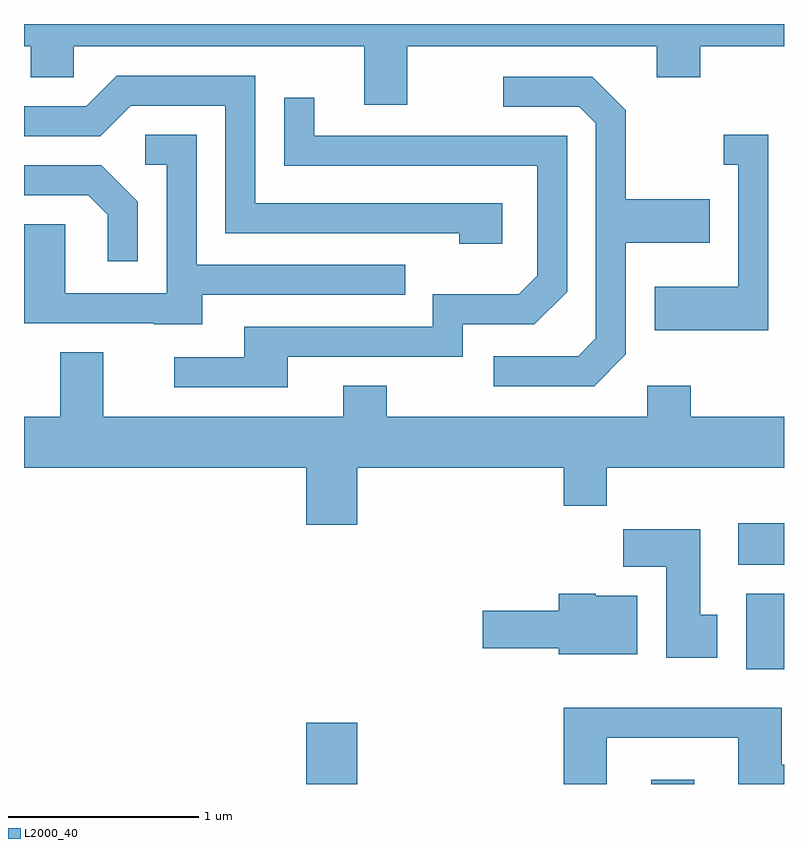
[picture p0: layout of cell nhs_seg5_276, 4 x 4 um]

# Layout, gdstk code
import gdstk
lib = gdstk.Library(unit=1e-6, precision=1e-09)
def R(c, l, rs):  # rectangles x0, y0, x1, y1
    for r in rs: c.add(gdstk.rectangle(r[:2], r[2:], *l))
def P(c, l, *ps):  # polygons
    for p in ps: c.add(gdstk.Polygon(p, *l))
L2000_40 = (2000, 40)

nhs_seg5_276 = lib.new_cell('nhs_seg5_276')
R(nhs_seg5_276, L2000_40, [(195.096,1404.072,195.364,1404.394), (196.911,1404.072,197.139,1404.094), (197.411,1404.676,197.611,1405.074), (197.371,1405.226,197.611,1405.444)])
P(nhs_seg5_276, L2000_40, [(195.629,1407.956),(196.941,1407.956),(196.941,1407.791),(197.169,1407.791),(197.169,1407.956),(197.611,1407.956),(197.611,1408.072),(193.611,1408.072),(193.611,1407.956),(193.646,1407.956),(193.646,1407.791),(193.874,1407.791),(193.874,1407.956),(195.401,1407.956),(195.401,1407.646),(195.629,1407.646)],
  [(196.129,1407.129),(194.829,1407.129),(194.829,1407.799),(194.099,1407.799),(193.939,1407.639),(193.611,1407.639),(193.611,1407.481),(194.012,1407.481),(194.172,1407.641),(194.671,1407.641),(194.671,1406.971),(195.901,1406.971),(195.901,1406.916),(196.129,1406.916)],
  [(196.779,1406.334),(196.779,1406.921),(197.219,1406.921),(197.219,1407.149),(196.779,1407.149),(196.779,1407.617),(196.602,1407.794),(196.133,1407.794),(196.133,1407.636),(196.534,1407.636),(196.621,1407.549),(196.621,1406.417),(196.529,1406.324),(196.083,1406.324),(196.083,1406.166),(196.612,1406.166)],
  [(194.999,1406.321),(195.919,1406.321),(195.919,1406.491),(196.297,1406.491),(196.469,1406.664),(196.469,1407.484),(195.139,1407.484),(195.139,1407.683),(194.981,1407.683),(194.981,1407.326),(196.311,1407.326),(196.311,1406.747),(196.214,1406.649),(195.761,1406.649),(195.761,1406.479),(194.771,1406.479),(194.771,1406.319),(194.403,1406.319),(194.403,1406.161),(194.999,1406.161)],
  [(197.529,1407.489),(197.293,1407.489),(197.293,1407.331),(197.371,1407.331),(197.371,1406.689),(196.931,1406.689),(196.931,1406.461),(197.529,1406.461)],
  [(194.549,1406.646),(195.618,1406.646),(195.618,1406.804),(194.519,1406.804),(194.519,1407.489),(194.248,1407.489),(194.248,1407.331),(194.361,1407.331),(194.361,1406.654),(193.829,1406.654),(193.829,1407.019),(193.611,1407.019),(193.611,1406.496),(194.295,1406.496),(194.295,1406.491),(194.549,1406.491)],
  [(194.209,1407.137),(194.017,1407.329),(193.611,1407.329),(193.611,1407.171),(193.949,1407.171),(194.051,1407.069),(194.051,1406.823),(194.209,1406.823)],
  [(195.364,1405.736),(196.451,1405.736),(196.451,1405.536),(196.679,1405.536),(196.679,1405.736),(197.611,1405.736),(197.611,1406.004),(197.119,1406.004),(197.119,1406.169),(196.891,1406.169),(196.891,1406.004),(195.519,1406.004),(195.519,1406.169),(195.291,1406.169),(195.291,1406.004),(194.029,1406.004),(194.029,1406.344),(193.801,1406.344),(193.801,1406.004),(193.611,1406.004),(193.611,1405.736),(195.096,1405.736),(195.096,1405.436),(195.364,1405.436)],
  [(197.259,1404.964),(197.169,1404.964),(197.169,1405.414),(196.766,1405.414),(196.766,1405.216),(196.991,1405.216),(196.991,1404.736),(197.259,1404.736)],
  [(196.839,1405.064),(196.62,1405.064),(196.62,1405.074),(196.426,1405.074),(196.426,1404.984),(196.026,1404.984),(196.026,1404.786),(196.426,1404.786),(196.426,1404.756),(196.839,1404.756)],
  [(196.679,1404.316),(197.371,1404.316),(197.371,1404.072),(197.611,1404.072),(197.611,1404.174),(197.599,1404.174),(197.599,1404.474),(196.451,1404.474),(196.451,1404.072),(196.679,1404.072)])

lib.write_gds('nhs_seg5_276.gds')
